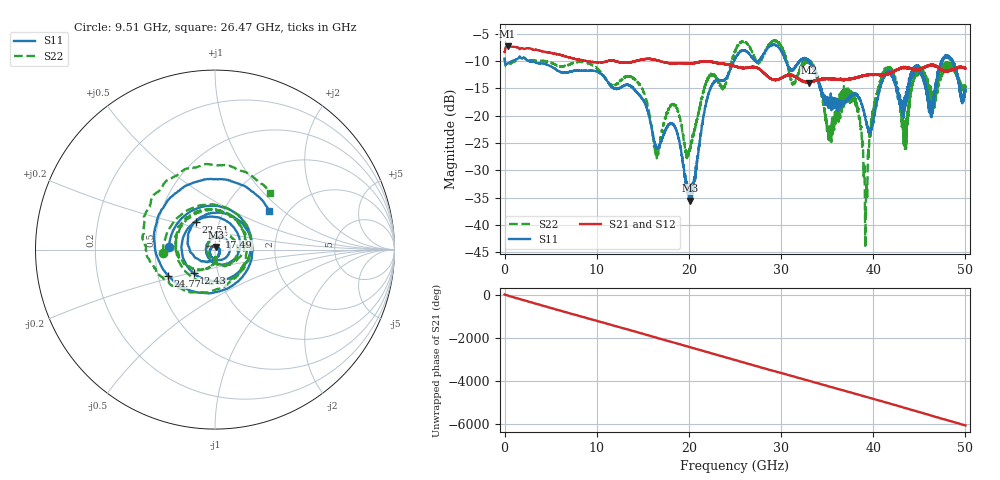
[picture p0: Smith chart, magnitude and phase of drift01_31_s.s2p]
!Created with skrf (http://scikit-rf.org).
# Hz S RI R 50.0
!freq ReS11 ImS11 ReS21 ImS21 ReS12 ImS12 ReS22 ImS22
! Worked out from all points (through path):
!   10001 points, 300 kHz to 50 GHz, reference 50 ohm
!   highest |S21| = -7.33 dB at 315.3 MHz (marker M1); lowest = -14.0 dB at 33.05 GHz (marker M2)
!   group delay of S21, straight-line fit = 335 ps
!   lowest |S11| = -35.6 dB at 20.16 GHz (marker M3), VSWR 1.03, Z = 50.8 + j1.48 ohm
!   |S11| at or under -10 dB: 2.565 GHz to 24.9 GHz (22.34 GHz wide, 163 % of centre); 30.51 GHz to 32.02 GHz (1.504 GHz wide, 4.81 % of centre); 33.07 GHz to 47.42 GHz (14.35 GHz wide, 35.7 % of centre) (the widest 3 of 22)
!   |S22| runs from -43.9 to -6.3 dB; largest |S21 - S12| = 0.0075
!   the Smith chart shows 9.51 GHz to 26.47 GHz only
!   S11 on the Smith chart (normalised r, x): 9.51 GHz: 0.59, +0.02; 12.43 GHz: 0.76, -0.21; 17.49 GHz: 1.03, +0.15; 22.51 GHz: 0.77, +0.25; 24.77 GHz: 0.57, -0.18; 26.47 GHz: 1.64, +0.80
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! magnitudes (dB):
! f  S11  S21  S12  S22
! 300 kHz  -9.6  -8.4  -8.5  -9.5
! 315.3 MHz  -10.5  -7.3  -7.3  -10.9
! 8.335 GHz  -11.8  -9.9  -9.8  -10.2
! 9.51 GHz  -11.8  -10.2  -10.2  -10.8
! 12.43 GHz  -15.0  -10.2  -10.2  -13.9
! 16.67 GHz  -26.0  -10.0  -9.9  -27.0
! 17.49 GHz  -22.6  -10.3  -10.3  -20.4
! 20.16 GHz  -35.6  -10.5  -10.5  -26.0
! 22.51 GHz  -14.5  -10.2  -10.2  -12.5
! 24.77 GHz  -10.5  -10.9  -10.9  -9.2
! 25 GHz  -9.6  -11.0  -11.0  -8.3
! 26.47 GHz  -8.6  -11.2  -11.2  -7.2
! 33.05 GHz  -10.1  -14.0  -13.9  -10.1
! 33.34 GHz  -10.8  -13.8  -13.8  -10.6
! 35.23 GHz  -17.0  -13.3  -13.3  -22.3
! 37.99 GHz  -16.1  -13.2  -13.1  -17.1
! 39.17 GHz  -20.7  -12.6  -12.6  -41.2
! 40.14 GHz  -19.9  -12.5  -12.5  -17.7
! 41.67 GHz  -12.1  -12.3  -12.4  -11.9
! 43.4 GHz  -17.0  -11.2  -11.3  -23.6
! 44.87 GHz  -11.1  -11.5  -11.5  -11.5
! 50 GHz  -15.6  -11.4  -11.3  -15.0
